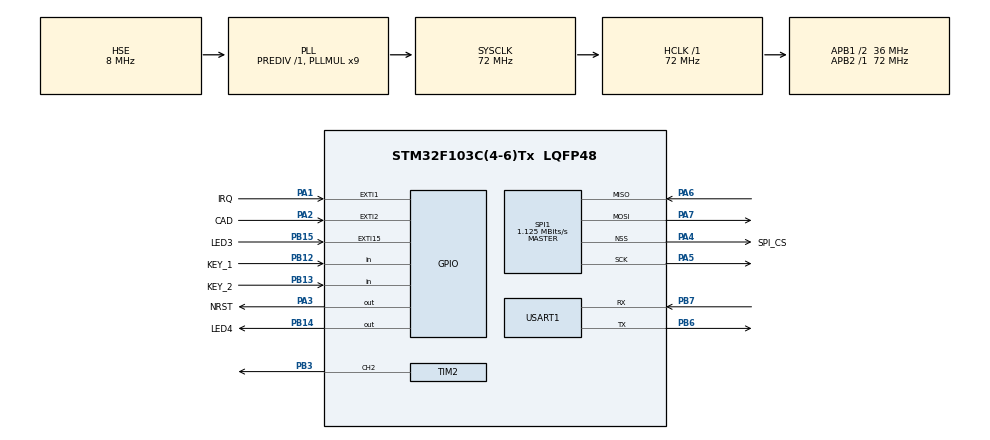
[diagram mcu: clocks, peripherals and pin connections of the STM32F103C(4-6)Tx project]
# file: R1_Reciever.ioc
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Mcu.Family=STM32F1
Mcu.Name=STM32F103C(4-6)Tx
Mcu.Package=LQFP48
NVIC.EXTI15_10_IRQn=true\:0\:0\:false\:false\:true\:true\:true\:true
NVIC.PriorityGroup=NVIC_PRIORITYGROUP_4
NVIC.TIM1_UP_IRQn=true\:0\:0\:false\:false\:true\:true\:true\:true
PA1.GPIO_Label=IRQ
PA1.Signal=GPXTI1
PA2.GPIO_Label=CAD
PA2.Signal=GPXTI2
PA3.GPIO_Label=NRST
PA3.GPIO_PuPd=GPIO_PULLUP
PA3.PinState=GPIO_PIN_SET
PA3.Signal=GPIO_Output
PA4.GPIO_Label=SPI_CS
PA4.Mode=NSS_Signal_Hard_Output
PA4.Signal=SPI1_NSS
PA5.Mode=Full_Duplex_Master
PA5.Signal=SPI1_SCK
PA6.Mode=Full_Duplex_Master
PA6.Signal=SPI1_MISO
PA7.Mode=Full_Duplex_Master
PA7.Signal=SPI1_MOSI
PB12.GPIO_Label=KEY_1
PB12.Signal=GPIO_Input
PB13.GPIO_Label=KEY_2
PB13.Signal=GPIO_Input
PB14.GPIO_Label=LED4
PB14.Signal=GPIO_Output
PB15.GPIO_Label=LED3
PB15.Signal=GPXTI15
PB3.Signal=S_TIM2_CH2
PB6.Mode=Asynchronous
PB6.Signal=USART1_TX
PB7.Mode=Asynchronous
PB7.Signal=USART1_RX
PD0-OSC_IN.Mode=HSE-External-Oscillator
PD0-OSC_IN.Signal=RCC_OSC_IN
PD1-OSC_OUT.Mode=HSE-External-Oscillator
PD1-OSC_OUT.Signal=RCC_OSC_OUT
ProjectManager.HeapSize=0x200
ProjectManager.StackSize=0x400
ProjectManager.TargetToolchain=CMake
RCC.AHBFreq_Value=72000000
RCC.APB1CLKDivider=RCC_HCLK_DIV2
RCC.APB1Freq_Value=36000000
RCC.APB1TimFreq_Value=72000000
RCC.APB2Freq_Value=72000000
RCC.APB2TimFreq_Value=72000000
RCC.HCLKFreq_Value=72000000
RCC.PLLMUL=RCC_PLL_MUL9
RCC.PLLSourceVirtual=RCC_PLLSOURCE_HSE
RCC.SYSCLKFreq_VALUE=72000000
RCC.SYSCLKSource=RCC_SYSCLKSOURCE_PLLCLK
RCC.USBFreq_Value=72000000
SH.S_TIM2_CH2.0=TIM2_CH2,PWM Generation2 CH2
SPI1.BaudRatePrescaler=SPI_BAUDRATEPRESCALER_64
SPI1.CalculateBaudRate=1.125 MBits/s
SPI1.Direction=SPI_DIRECTION_2LINES
SPI1.Mode=SPI_MODE_MASTER
SPI1.VirtualNSS=VM_NSSHARD
SPI1.VirtualType=VM_MASTER
TIM1.Period=200-1
TIM1.Prescaler=7200-1
TIM2.Channel-PWM\ Generation2\ CH2=TIM_CHANNEL_2
TIM2.Period=300-1
TIM2.Prescaler=72-1
TIM2.Pulse-PWM\ Generation2\ CH2=150-1
USART1.VirtualMode=VM_ASYNC
VP_SYS_VS_ND.Mode=No_Debug
VP_TIM1_VS_ClockSourceINT.Mode=Internal
board=custom

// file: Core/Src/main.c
/* USER CODE BEGIN Header */
/**
  ******************************************************************************
  * @file           : main.c
  * @brief          : Main program body
  ******************************************************************************
  * @attention
  *
  * Copyright (c) 2026 STMicroelectronics.
  * All rights reserved.
  *
  * This software is licensed under terms that can be found in the LICENSE file
  * in the root directory of this software component.
  * If no LICENSE file comes with this software, it is provided AS-IS.
  *
  ******************************************************************************
  */
/* USER CODE END Header */
#include "main.h"
#include "spi.h"
#include "stm32f1xx_hal_gpio.h"
#include "tim.h"
#include "usart.h"
#include "gpio.h"
#include <string.h>

/* USER CODE BEGIN Includes */
#include "e290_demo.h"
#include "e290_hal.h"
#include "pan_param.h"
#include "pan_rf.h"
#include"pan_port.h"
extern struct RxDoneMsg RxDoneParams;
/* USER CODE END Includes */

/* USER CODE BEGIN PD */
uint8_t conFlag = 0;//连接状态标志，0表示未连接，1表示已连接
uint8_t Rxdata[11] = {0, 0x20};
uint8_t Txdata[13] = {0};
volatile uint8_t rf_irq_pending = 0;//中断标志，1表示有中断发生，0表示没有中断发生

uint8_t error = 0;
/* USER CODE END PD */

void SystemClock_Config(void);

int main(void)
{

  /* MCU Configuration--------------------------------------------------------*/

  /* Reset of all peripherals, Initializes the Flash interface and the Systick. */
  HAL_Init();

  /* Configure the system clock */
  SystemClock_Config();

  /* Initialize all configured peripherals */
  MX_GPIO_Init();
  MX_SPI1_Init();
  MX_USART1_UART_Init();
  MX_TIM2_Init();
  MX_TIM1_Init();
  /* USER CODE BEGIN 2 */
  rf_init();
  rf_set_default_para();
  rf_enter_continous_rx();//设置为连续接收模式
  Txdata[0] = 0xef;
  HAL_TIM_Base_Start_IT(&htim1);
  /* USER CODE END 2 */

  /* Infinite loop */
  while (1)
  {

    /* USER CODE BEGIN 3 */
    if (rf_irq_pending)
    {
      rf_irq_pending = 0;
      rf_irq_process();
    }

    if (rf_get_recv_flag() == RADIO_FLAG_RXDONE)//接收完成标志
    {
      rf_set_recv_flag(RADIO_FLAG_IDLE);//清除接收完成标志
      if (RxDoneParams.Size > 0)//接收到有效数据
      {
        static uint8_t connectFlag_last = 0;
        static uint8_t connectFlag = 0;
        connectFlag_last = connectFlag;
        uint8_t copy_len = (RxDoneParams.Size < sizeof(Rxdata)) ? RxDoneParams.Size : sizeof(Rxdata);
        memset(Rxdata, 0, sizeof(Rxdata));
        memcpy(Rxdata, RxDoneParams.Payload, copy_len);
        connectFlag = Rxdata[9];//根据协议，最后一个字节会1，2，3循环改变
        RxDoneParams.Size = 0;//清除接收数据长度
        __HAL_TIM_SET_COUNTER(&htim1, 0);

        if (connectFlag != connectFlag_last)
        {
          connectFlag_last = connectFlag;
          HAL_GPIO_WritePin(LED4_GPIO_Port, LED4_Pin, (connectFlag != 0) ? GPIO_PIN_RESET : GPIO_PIN_SET);
          HAL_GPIO_WritePin(LED3_GPIO_Port, LED3_Pin, (connectFlag != 0) ? GPIO_PIN_SET : GPIO_PIN_RESET);
          Txdata[0] = 0xef;
          memset(Txdata + 1, 0, sizeof(Txdata) - 1);
          memcpy(Txdata + 1, Rxdata, sizeof(Rxdata));
          Txdata[12] = 0xff;
          HAL_UART_Transmit(&huart1, Txdata, sizeof(Txdata), HAL_MAX_DELAY);
        }
      }

      rf_enter_continous_rx();
    }
    else if ((rf_get_recv_flag() == RADIO_FLAG_RXTIMEOUT) || (rf_get_recv_flag() == RADIO_FLAG_RXERR))//接收超时或接收错误标志
    {
      rf_set_recv_flag(RADIO_FLAG_IDLE);
      conFlag = 0;
      HAL_GPIO_WritePin(LED4_GPIO_Port, LED4_Pin, GPIO_PIN_SET);
      HAL_GPIO_WritePin(LED3_GPIO_Port, LED3_Pin, GPIO_PIN_RESET);
      rf_enter_continous_rx();
    }
    else if (rf_get_recv_flag() == RADIO_FLAG_TXDONE)//发送完成标志
    {
      rf_set_recv_flag(RADIO_FLAG_IDLE);
      rf_enter_continous_rx();
    }

    HAL_Delay(1);
  }
  /* USER CODE END 3 */
}

void SystemClock_Config(void)
{
  RCC_OscInitTypeDef RCC_OscInitStruct = {0};
  RCC_ClkInitTypeDef RCC_ClkInitStruct = {0};

  /** Initializes the RCC Oscillators according to the specified parameters
  * in the RCC_OscInitTypeDef structure.
  */
  RCC_OscInitStruct.OscillatorType = RCC_OSCILLATORTYPE_HSE;
  RCC_OscInitStruct.HSEState = RCC_HSE_ON;
  RCC_OscInitStruct.HSEPredivValue = RCC_HSE_PREDIV_DIV1;
  RCC_OscInitStruct.HSIState = RCC_HSI_ON;
  RCC_OscInitStruct.PLL.PLLState = RCC_PLL_ON;
  RCC_OscInitStruct.PLL.PLLSource = RCC_PLLSOURCE_HSE;
  RCC_OscInitStruct.PLL.PLLMUL = RCC_PLL_MUL9;
  if (HAL_RCC_OscConfig(&RCC_OscInitStruct) != HAL_OK)
  {
    Error_Handler();
  }

  /** Initializes the CPU, AHB and APB buses clocks
  */
  RCC_ClkInitStruct.ClockType = RCC_CLOCKTYPE_HCLK|RCC_CLOCKTYPE_SYSCLK
                              |RCC_CLOCKTYPE_PCLK1|RCC_CLOCKTYPE_PCLK2;
  RCC_ClkInitStruct.SYSCLKSource = RCC_SYSCLKSOURCE_PLLCLK;
  RCC_ClkInitStruct.AHBCLKDivider = RCC_SYSCLK_DIV1;
  RCC_ClkInitStruct.APB1CLKDivider = RCC_HCLK_DIV2;
  RCC_ClkInitStruct.APB2CLKDivider = RCC_HCLK_DIV1;

  if (HAL_RCC_ClockConfig(&RCC_ClkInitStruct, FLASH_LATENCY_2) != HAL_OK)
  {
    Error_Handler();
  }
}

/* USER CODE BEGIN 4 */
void HAL_GPIO_EXTI_Callback(uint16_t GPIO_Pin)
{
  if (GPIO_Pin == IRQ_Pin)
  {
    rf_irq_pending = 1;
  }
}

void HAL_TIM_PeriodElapsedCallback(TIM_HandleTypeDef *htim)
{
  if (htim->Instance == TIM1)
  {
    conFlag = 0;
    Txdata[0] = 0xef;
    Txdata[10] = 0x00;
    Txdata[12] = 0xff;
    HAL_GPIO_WritePin(LED4_GPIO_Port, LED4_Pin, GPIO_PIN_SET);
    HAL_GPIO_WritePin(LED3_GPIO_Port, LED3_Pin, GPIO_PIN_RESET);
    HAL_UART_Transmit(&huart1, Txdata, sizeof(Txdata), HAL_MAX_DELAY);
    rf_enter_continous_rx();
  }
}
/* USER CODE END 4 */

void Error_Handler(void)
{
  __disable_irq();
  while (1)
  {
  }
}
